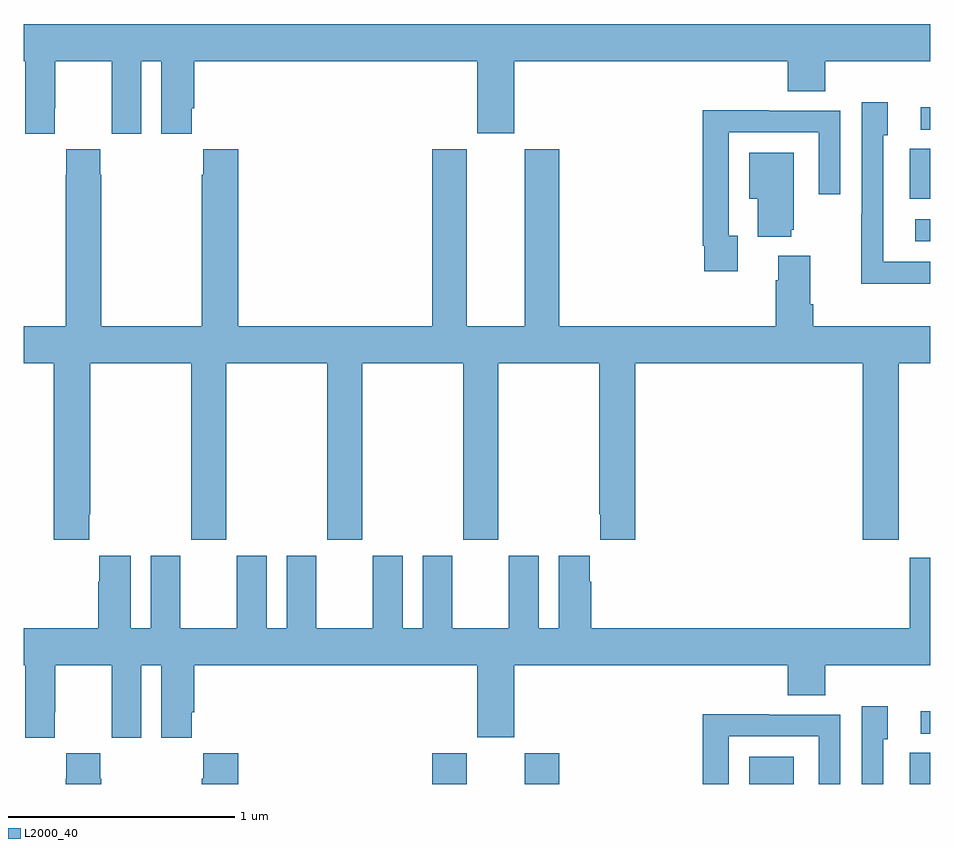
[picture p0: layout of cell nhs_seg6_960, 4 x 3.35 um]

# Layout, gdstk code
import gdstk
lib = gdstk.Library(unit=1e-6, precision=1e-09)
def R(c, l, rs):  # rectangles x0, y0, x1, y1
    for r in rs: c.add(gdstk.rectangle(r[:2], r[2:], *l))
def P(c, l, *ps):  # polygons
    for p in ps: c.add(gdstk.Polygon(p, *l))
L2000_40 = (2000, 40)

nhs_seg6_960 = lib.new_cell('nhs_seg6_960')
R(nhs_seg6_960, L2000_40, [(172.802,925.5,172.954,925.635), (173.21,925.5,173.363,925.635), (174.2,925.5,174.397,925.621), (174.908,925.5,175,925.637), (174.957,925.722,175,925.82), (174.933,927.894,175,927.99), (174.908,928.082,175,928.301), (174.957,928.386,175,928.484)])
P(nhs_seg6_960, L2000_40, [(171,928.688),(171.008,928.688),(171.008,928.368),(171.138,928.368),(171.138,928.48),(171.139,928.48),(171.139,928.688),(171.389,928.688),(171.389,928.48),(171.39,928.48),(171.39,928.368),(171.52,928.368),(171.52,928.688),(171.608,928.688),(171.608,928.368),(171.742,928.368),(171.742,928.48),(171.752,928.48),(171.752,928.688),(173,928.688),(173,928.371),(173.164,928.371),(173.164,928.688),(174.371,928.688),(174.371,928.555),(174.536,928.555),(174.536,928.688),(175,928.688),(175,928.852),(171,928.852)],
  [(175,927.804),(174.792,927.804),(174.792,928.362),(174.811,928.362),(174.811,928.507),(174.696,928.507),(174.696,928.013),(174.694,928.013),(174.694,927.707),(175,927.707)],
  [(174.151,927.918),(174.111,927.918),(174.111,928.374),(174.507,928.374),(174.507,928.101),(174.603,928.101),(174.603,928.47),(174.287,928.47),(174.287,928.472),(173.995,928.472),(173.995,927.874),(174.003,927.874),(174.003,927.762),(174.151,927.762)],
  [(171.289,926.689),(171.294,926.689),(171.294,927.356),(171.739,927.356),(171.739,926.577),(171.894,926.577),(171.894,927.356),(172.339,927.356),(172.339,926.577),(172.494,926.577),(172.494,927.356),(172.939,927.356),(172.939,926.577),(173.094,926.577),(173.094,927.356),(173.539,927.356),(173.539,926.689),(173.543,926.689),(173.543,926.577),(173.699,926.577),(173.699,927.356),(174.701,927.356),(174.701,926.577),(174.861,926.577),(174.861,927.356),(175,927.356),(175,927.52),(174.482,927.52),(174.482,927.616),(174.469,927.616),(174.469,927.829),(174.329,927.829),(174.329,927.722),(174.317,927.722),(174.317,927.52),(173.363,927.52),(173.363,928.299),(173.21,928.299),(173.21,927.52),(172.954,927.52),(172.954,928.299),(172.802,928.299),(172.802,927.52),(171.947,927.52),(171.947,928.3),(171.793,928.3),(171.793,928.187),(171.787,928.187),(171.787,927.52),(171.342,927.52),(171.342,928.187),(171.339,928.187),(171.339,928.3),(171.189,928.3),(171.189,928.187),(171.187,928.187),(171.187,927.52),(171,927.52),(171,927.356),(171.134,927.356),(171.134,926.577),(171.289,926.577)],
  [(174.386,927.945),(174.397,927.945),(174.397,928.285),(174.2,928.285),(174.2,928.082),(174.239,928.082),(174.239,927.914),(174.386,927.914)],
  [(171.691,926.506),(171.56,926.506),(171.56,926.188),(171.472,926.188),(171.472,926.506),(171.335,926.506),(171.335,926.393),(171.329,926.393),(171.329,926.188),(171,926.188),(171,926.024),(171.008,926.024),(171.008,925.704),(171.138,925.704),(171.138,925.816),(171.139,925.816),(171.139,926.024),(171.389,926.024),(171.389,925.816),(171.39,925.816),(171.39,925.704),(171.52,925.704),(171.52,926.024),(171.608,926.024),(171.608,925.704),(171.742,925.704),(171.742,925.816),(171.752,925.816),(171.752,926.024),(173,926.024),(173,925.707),(173.164,925.707),(173.164,926.024),(174.371,926.024),(174.371,925.891),(174.536,925.891),(174.536,926.024),(175,926.024),(175,926.497),(174.908,926.497),(174.908,926.188),(173.504,926.188),(173.504,926.393),(173.497,926.393),(173.497,926.506),(173.36,926.506),(173.36,926.188),(173.272,926.188),(173.272,926.506),(173.141,926.506),(173.141,926.188),(172.891,926.188),(172.891,926.506),(172.76,926.506),(172.76,926.188),(172.672,926.188),(172.672,926.506),(172.541,926.506),(172.541,926.188),(172.291,926.188),(172.291,926.506),(172.16,926.506),(172.16,926.188),(172.072,926.188),(172.072,926.506),(171.941,926.506),(171.941,926.188),(171.691,926.188)],
  [(174.792,925.698),(174.811,925.698),(174.811,925.843),(174.696,925.843),(174.696,925.5),(174.792,925.5)],
  [(174.111,925.71),(174.507,925.71),(174.507,925.5),(174.603,925.5),(174.603,925.806),(174.287,925.806),(174.287,925.808),(173.995,925.808),(173.995,925.5),(174.111,925.5)],
  [(171.947,925.636),(171.793,925.636),(171.793,925.523),(171.787,925.523),(171.787,925.5),(171.947,925.5)],
  [(171.342,925.523),(171.339,925.523),(171.339,925.636),(171.189,925.636),(171.189,925.523),(171.187,925.523),(171.187,925.5),(171.342,925.5)])

lib.write_gds('nhs_seg6_960.gds')
